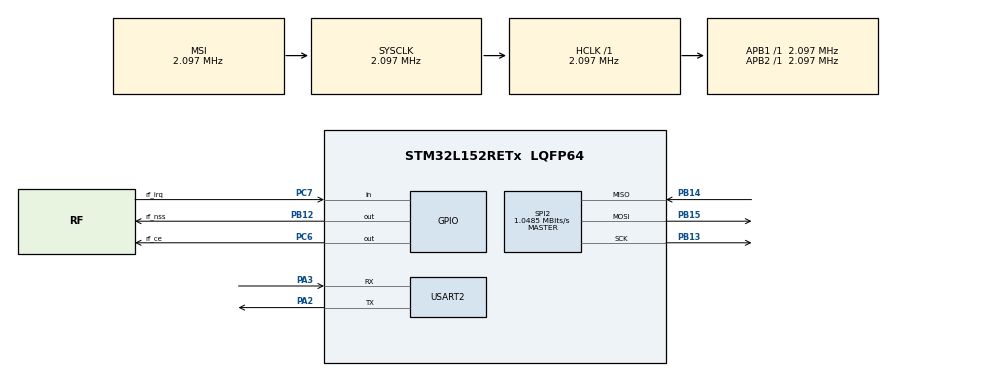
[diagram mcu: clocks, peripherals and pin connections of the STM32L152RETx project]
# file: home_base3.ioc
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Mcu.Family=STM32L1
Mcu.Name=STM32L152RETx
Mcu.Package=LQFP64
NVIC.PriorityGroup=NVIC_PRIORITYGROUP_4
NVIC.USART2_IRQn=true\:0\:0\:false\:false\:true
PA2.Mode=Multiprocessor_communication
PA2.Signal=USART2_TX
PA3.Mode=Multiprocessor_communication
PA3.Signal=USART2_RX
PB12.GPIO_Label=rf_nss
PB12.Signal=GPIO_Output
PB13.Mode=Full_Duplex_Master
PB13.Signal=SPI2_SCK
PB14.Mode=Full_Duplex_Master
PB14.Signal=SPI2_MISO
PB15.Mode=Full_Duplex_Master
PB15.Signal=SPI2_MOSI
PC6.GPIO_Label=rf_ce
PC6.Signal=GPIO_Output
PC7.GPIO_Label=rf_irq
PC7.Signal=GPIO_Input
ProjectManager.HeapSize=0x200
ProjectManager.StackSize=0x400
ProjectManager.TargetToolchain=TrueSTUDIO
RCC.AHBFreq_Value=2097000
RCC.APB1Freq_Value=2097000
RCC.APB2Freq_Value=2097000
RCC.HSE_VALUE=24000000
RCC.HSI_VALUE=16000000
RCC.LSE_VALUE=32768
RCC.MSI_VALUE=2097000
RCC.SYSCLKFreq_VALUE=2097000
RCC.VCOOutputFreq_Value=48000000
SPI2.CalculateBaudRate=1.0485 MBits/s
SPI2.Mode=SPI_MODE_MASTER
VP_TIM7_VS_ClockSourceINT.Mode=Enable_Timer
board=home_base3

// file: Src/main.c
/**
  ******************************************************************************
  * File Name          : main.c
  * Description        : Main program body
  ******************************************************************************
  *
  * COPYRIGHT(c) 2017 STMicroelectronics
  *
  * Redistribution and use in source and binary forms, with or without modification,
  * are permitted provided that the following conditions are met:
  *   1. Redistributions of source code must retain the above copyright notice,
  *      this list of conditions and the following disclaimer.
  *   2. Redistributions in binary form must reproduce the above copyright notice,
  *      this list of conditions and the following disclaimer in the documentation
  *      and/or other materials provided with the distribution.
  *   3. Neither the name of STMicroelectronics nor the names of its contributors
  *      may be used to endorse or promote products derived from this software
  *      without specific prior written permission.
  *
  * THIS SOFTWARE IS PROVIDED BY THE COPYRIGHT HOLDERS AND CONTRIBUTORS "AS IS"
  * AND ANY EXPRESS OR IMPLIED WARRANTIES, INCLUDING, BUT NOT LIMITED TO, THE
  * IMPLIED WARRANTIES OF MERCHANTABILITY AND FITNESS FOR A PARTICULAR PURPOSE ARE
  * DISCLAIMED. IN NO EVENT SHALL THE COPYRIGHT HOLDER OR CONTRIBUTORS BE LIABLE
  * FOR ANY DIRECT, INDIRECT, INCIDENTAL, SPECIAL, EXEMPLARY, OR CONSEQUENTIAL
  * DAMAGES (INCLUDING, BUT NOT LIMITED TO, PROCUREMENT OF SUBSTITUTE GOODS OR
  * SERVICES; LOSS OF USE, DATA, OR PROFITS; OR BUSINESS INTERRUPTION) HOWEVER
  * CAUSED AND ON ANY THEORY OF LIABILITY, WHETHER IN CONTRACT, STRICT LIABILITY,
  * OR TORT (INCLUDING NEGLIGENCE OR OTHERWISE) ARISING IN ANY WAY OUT OF THE USE
  * OF THIS SOFTWARE, EVEN IF ADVISED OF THE POSSIBILITY OF SUCH DAMAGE.
  *
  ******************************************************************************
  */
#include "main.h"
#include "stm32l1xx_hal.h"
#include "spi.h"
#include "tim.h"
#include "usart.h"
#include "gpio.h"

/* USER CODE BEGIN Includes */
#include "C:\Users\bluemann\Desktop\New Folder (2)\home_base3\TrueSTUDIO\home_base3\rfm7x_tm.h"
#include "C:\Users\bluemann\Desktop\New Folder (2)\home_base3\TrueSTUDIO\home_base3\rfm7x.h"
#include "C:\Users\bluemann\Desktop\New Folder (2)\home_base3\TrueSTUDIO\home_base3\program.h"
/* USER CODE END Includes */

/* USER CODE BEGIN PV */
/* Private variables ---------------------------------------------------------*/

/* USER CODE END PV */

void SystemClock_Config(void);
void Error_Handler(void);

/* USER CODE BEGIN PFP */
/* Private function prototypes -----------------------------------------------*/

/* USER CODE END PFP */

/* USER CODE BEGIN 0  */

uint8_t rfmsg_len; //Length of recived packet
uint8_t rfpipe; // Pipie number
uint8_t rfmsg[31+1]; //message, max 32 + char end of line (in C)
uint8_t check = 0;
/* USER CODE END 0 */

#define TEST

#if defined(TEST)
	#define TEST_RECIVE
#endif

int main(void)
{

  /* MCU Configuration----------------------------------------------------------*/

  /* Reset of all peripherals, Initializes the Flash interface and the Systick. */
  HAL_Init();

  /* Configure the system clock */
  SystemClock_Config();

  /* Initialize all configured peripherals */
  MX_GPIO_Init();
  MX_SPI2_Init();
  MX_USART2_UART_Init();
  MX_TIM7_Init();

  /* USER CODE BEGIN 2 */

  	/* Init Radio */
	rfm7x_init(RFM73);

	if(rfm7x_is_present())
	{
		/* Send OK by UART */
		 HAL_UART_Transmit(&huart2,   Message_OK, Message_Length,  100);
	}
	rfm7x_channel(45);
	rfm7x_mode_receive();

  /* USER CODE END 2 */

  /* USER CODE BEGIN 3 */
  /* Infinite loop */
  /* USER CODE BEGIN WHILE */
  for(;;)
  {

#ifdef TEST_RECIVE

			   if(!rfm7x_receive_fifo_empty())//odebrano jakieœ dane
			   {//HAL_UART_Transmit(&huart2,   Message_OK, Message_Length,  100);

			        if(0 != rfm7x_receive(&rfpipe, rfmsg, &rfmsg_len) && rfmsg_len > 0) //danych jest wiêcej ni¿ 1 bajt
			        {
			            rfmsg[rfmsg_len] = '\n'; //dodaj znak koñca napisu w C do bufora
			            HAL_UART_Transmit(&huart2,  rfmsg, rfmsg_len, 0xFF); //wyœwietl odebrany komunikat w terminalu

			        }
			   }

			  HAL_Delay(100);
#endif

  }
  /* USER CODE END WHILE */
  /* USER CODE END 3 */

}

/** System Clock Configuration
*/
void SystemClock_Config(void)
{

  RCC_OscInitTypeDef RCC_OscInitStruct;
  RCC_ClkInitTypeDef RCC_ClkInitStruct;

    /**Configure the main internal regulator output voltage
    */
  __HAL_PWR_VOLTAGESCALING_CONFIG(PWR_REGULATOR_VOLTAGE_SCALE1);

    /**Initializes the CPU, AHB and APB busses clocks
    */
  RCC_OscInitStruct.OscillatorType = RCC_OSCILLATORTYPE_MSI;
  RCC_OscInitStruct.MSIState = RCC_MSI_ON;
  RCC_OscInitStruct.MSICalibrationValue = 0;
  RCC_OscInitStruct.MSIClockRange = RCC_MSIRANGE_5;
  RCC_OscInitStruct.PLL.PLLState = RCC_PLL_NONE;
  if (HAL_RCC_OscConfig(&RCC_OscInitStruct) != HAL_OK)
  {
    Error_Handler();
  }

    /**Initializes the CPU, AHB and APB busses clocks
    */
  RCC_ClkInitStruct.ClockType = RCC_CLOCKTYPE_HCLK|RCC_CLOCKTYPE_SYSCLK
                              |RCC_CLOCKTYPE_PCLK1|RCC_CLOCKTYPE_PCLK2;
  RCC_ClkInitStruct.SYSCLKSource = RCC_SYSCLKSOURCE_MSI;
  RCC_ClkInitStruct.AHBCLKDivider = RCC_SYSCLK_DIV1;
  RCC_ClkInitStruct.APB1CLKDivider = RCC_HCLK_DIV1;
  RCC_ClkInitStruct.APB2CLKDivider = RCC_HCLK_DIV1;

  if (HAL_RCC_ClockConfig(&RCC_ClkInitStruct, FLASH_LATENCY_0) != HAL_OK)
  {
    Error_Handler();
  }

    /**Configure the Systick interrupt time
    */
  HAL_SYSTICK_Config(HAL_RCC_GetHCLKFreq()/1000);

    /**Configure the Systick
    */
  HAL_SYSTICK_CLKSourceConfig(SYSTICK_CLKSOURCE_HCLK);

  /* SysTick_IRQn interrupt configuration */
  HAL_NVIC_SetPriority(SysTick_IRQn, 0, 0);
}

void Error_Handler(void)
{
  while(1)
  {
  }
}

/************************ (C) COPYRIGHT STMicroelectronics *****END OF FILE****/
